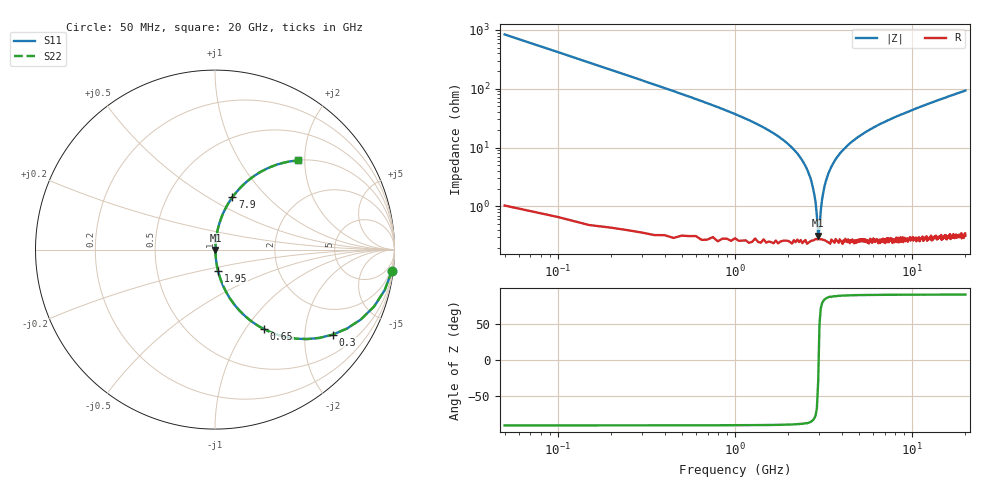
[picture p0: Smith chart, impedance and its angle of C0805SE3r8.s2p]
! AVX Thin Film Operation		Date: April 2012
! Description: Accu-P® Series, Thin Film, SMD, RF Capacitor
! Part Number: 08051J3R8ABTTR
!	100	MHz	-	20.05	GHz
!	Serial	Measurements
#	MHZ	S	MA	R	50
!	S11	S21	S12	S22
!	dB	Phase	dB	Phase	dB	Phase	dB	Phase
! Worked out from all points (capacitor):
!   400 points, 50 MHz to 20 GHz, reference 50 ohm
!   read as one part in series: C = 3.8 pF near 150 MHz
!   lowest |Z| = 318 mohm at 2.95 GHz (marker M1)
!   series resonance near 2.966 GHz, so ESL is about 760 pH
!   S11 on the Smith chart (normalised r, x): 50 MHz: 1, -17; 300 MHz: 1.01, -2.76; 650 MHz: 1.01, -1.23; 1.95 GHz: 1.01, -0.24; 7.9 GHz: 1.01, +0.65; 20 GHz: 1.01, +1.86
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50  0.993 -6.8  0.119 83.1  0.119 83.1  0.993 -6.8
150  0.941 -19.7  0.338 70.2  0.338 70.2  0.941 -19.7
300  0.809 -35.8  0.586 54.0  0.586 54.0  0.809 -35.8
650  0.522 -58.3  0.851 31.5  0.851 31.5  0.522 -58.3
1100  0.311 -71.4  0.948 18.1  0.948 18.1  0.311 -71.4
1950  0.121 -81.9  0.99 6.9  0.99 6.9  0.121 -81.9
2400  0.06 -84.1  0.996 3.4  0.996 3.4  0.06 -84.1
2700  0.027 -83.0  0.997 1.5  0.997 1.5  0.027 -83.0
2850  0.012 -76.7  0.997 0.6  0.997 0.6  0.012 -76.7
2950  0.002968 -31.2  0.997 0.1  0.997 0.1  0.002968 -31.2
3000  0.00408 51.4  0.997 -0.2  0.997 -0.2  0.00408 51.4
3100  0.013 77.8  0.997 -0.7  0.997 -0.7  0.013 77.8
3200  0.022 82.0  0.997 -1.2  0.997 -1.2  0.022 82.0
3400  0.039 84.0  0.997 -2.2  0.997 -2.2  0.039 84.0
3750  0.067 84.0  0.995 -3.8  0.995 -3.8  0.067 84.0
4450  0.117 82.1  0.991 -6.7  0.991 -6.7  0.117 82.1
6700  0.248 75.1  0.966 -14.3  0.966 -14.3  0.248 75.1
7900  0.307 71.7  0.949 -17.9  0.949 -17.9  0.307 71.7
10050  0.399 66.1  0.914 -23.5  0.914 -23.5  0.399 66.1
13350  0.516 58.7  0.854 -31.1  0.854 -31.1  0.516 58.7
16700  0.609 52.3  0.791 -37.5  0.791 -37.5  0.609 52.3
20000  0.68 46.9  0.731 -42.9  0.731 -42.9  0.68 46.9
